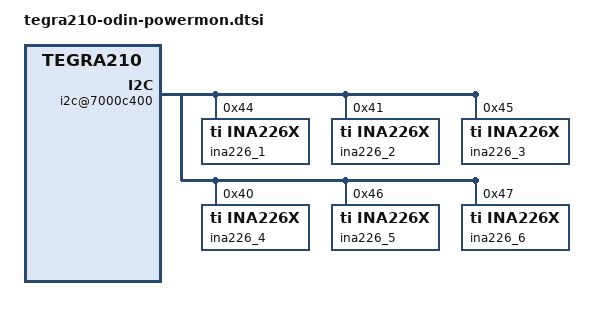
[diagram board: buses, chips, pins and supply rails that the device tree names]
/*
 * Copyright (c) 2015, NVIDIA CORPORATION.  All rights reserved.
 *
 * This program is free software; you can redistribute it and/or modify
 * it under the terms of the GNU General Public License as published by
 * the Free Software Foundation; either version 2 of the License, or
 * (at your option) any later version.
 *
 * This program is distributed in the hope that it will be useful, but WITHOUT
 * ANY WARRANTY; without even the implied warranty of MERCHANTABILITY or
 * FITNESS FOR A PARTICULAR PURPOSE.  See the GNU General Public License for
 * more details.
 *
 * You should have received a copy of the GNU General Public License along
 * with this program; if not, write to the Free Software Foundation, Inc.,
 * 51 Franklin Street, Fifth Floor, Boston, MA  02110-1301, USA.
 */
/ {
	i2c@7000c400 {
		ina226_1@44 {
			status = "okay";
			compatible = "ti,ina226x";
			reg = <0x44>;
			ti,rail-name = "VDD_GPU";
			ti,continuous-config = <0x0407>;
			ti,trigger-config = <0x0403>;
			ti,calibration-data = <0x00CC>;
			ti,power-lsb = <25>;
			ti,divisor = <25>;
		};
		ina226_2@41{
			status = "okay";
			compatible = "ti,ina226x";
			reg = <0x41>;
			ti,rail-name = "VDD_CPU";
			ti,continuous-config = <0x0407>;
			ti,trigger-config = <0x0403>;
			ti,calibration-data = <0x00CC>;
			ti,power-lsb = <25>;
			ti,divisor = <25>;
		};
		ina226_3@45{
			status = "okay";
			compatible = "ti,ina226x";
			reg = <0x45>;
			ti,rail-name = "VDD_DDR";
			ti,continuous-config = <0x0407>;
			ti,trigger-config = <0x0403>;
			ti,calibration-data = <0x0064>;
			ti,power-lsb = <25>;
			ti,divisor = <25>;
		};
		ina226_4@40{
			status = "okay";
			compatible = "ti,ina226x";
			reg = <0x40>;
			ti,rail-name = "VDD_15V";
			ti,continuous-config = <0x0407>;
			ti,trigger-config = <0x0403>;
			ti,calibration-data = <0x0064>;
			ti,power-lsb = <25>;
			ti,divisor = <25>;
		};
		ina226_5@46{
			status = "okay";
			compatible = "ti,ina226x";
			reg = <0x46>;
			ti,rail-name = "VDD_SYS";
			ti,continuous-config = <0x0407>;
			ti,trigger-config = <0x0403>;
			ti,calibration-data = <0x0A00>;
			ti,power-lsb = <25>;
			ti,divisor = <25>;
		};
		ina226_6@47{
			status = "okay";
			compatible = "ti,ina226x";
			reg = <0x47>;
			ti,rail-name = "VDD_BL";
			ti,continuous-config = <0x0407>;
			ti,trigger-config = <0x0403>;
			ti,calibration-data = <0x0033>;
			ti,power-lsb = <25>;
			ti,divisor = <25>;
		};
	};
};
